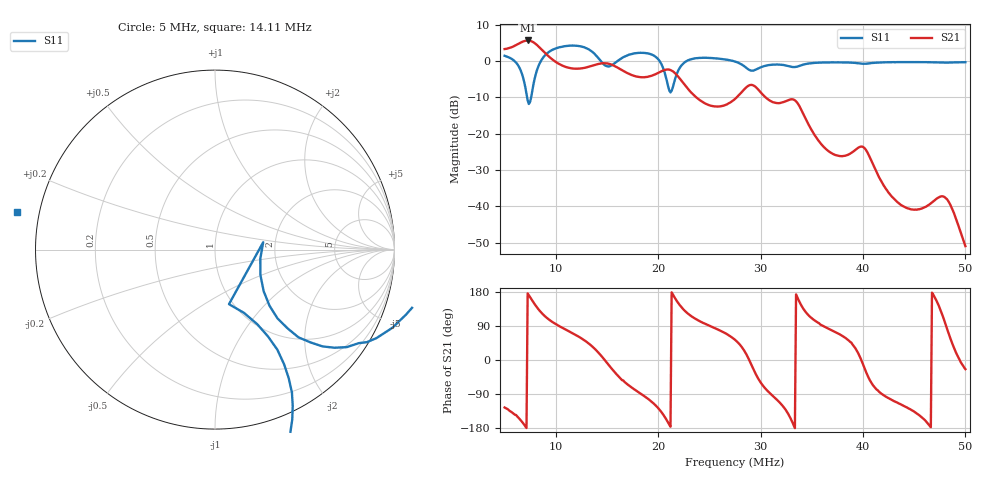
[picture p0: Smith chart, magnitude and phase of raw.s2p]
! S11/S21 only; reverse parameters are placeholders. Device calibration unverified.
! NanoVNA F V2 profile | COM3 | 2026-09-08T10:56:13.1379799-04:00 | device calibration unverified
# HZ S RI R 50
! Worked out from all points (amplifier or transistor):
!   401 points, 5 MHz to 50 MHz, reference 50 ohm
!   highest |S21| = 5.7 dB at 7.25 MHz (marker M1)
!   |S21| within 3 dB of that: start of sweep to 8.796 MHz
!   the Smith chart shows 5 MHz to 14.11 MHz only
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5000000  1.171 -0.2043  -0.8512 -1.2  0 0  0 0
6350000  0.6653 -0.5468  -1.538 -0.8087  0 0  0 0
7250000  0.253 -0.1409  -1.928 0.1417  0 0  0 0
8487500  0.433 -0.8712  -0.9293 1.191  0 0  0 0
1.05125e7  -0.1275 -1.573  0.0506 0.8856  0 0  0 0
1.25375e7  -1.007 -1.229  0.4405 0.6663  0 0  0 0
1.38875e7  -1.219 -0.0421  0.7962 0.411  0 0  0 0
1.5125e7  -0.0258 0.8458  0.9072 -0.1905  0 0  0 0
1.61375e7  0.9227 0.466  0.5821 -0.5519  0 0  0 0
1.72625e7  1.225 -0.2063  0.2286 -0.6171  0 0  0 0
2.0075e7  0.1451 -1.023  -0.4439 -0.5405  0 0  0 0
2.0975e7  -0.4249 -0.1379  -0.7441 -0.195  0 0  0 0
2.1875e7  0.3496 0.6066  -0.565 0.2823  0 0  0 0
2.35625e7  1.085 0.138  -0.1128 0.3124  0 0  0 0
2.75e7  0.8978 -0.4179  0.1804 0.2425  0 0  0 0
2.9975e7  0.7804 -0.2499  0.1991 -0.3204  0 0  0 0
3.3125e7  0.7027 -0.4457  -0.2892 -0.0745  0 0  0 0
3.50375e7  0.7698 -0.5411  -0.0359 0.1029  0 0  0 0
4.01e7  0.5648 -0.7293  0.0611 -0.0201  0 0  0 0
4.2575e7  0.5106 -0.8234  -0.00315 -0.0146  0 0  0 0
4.7975e7  0.2909 -0.9083  -0.00257 0.0131  0 0  0 0
5e7  0.2255 -0.9428  0.00258 -0.00115  0 0  0 0
